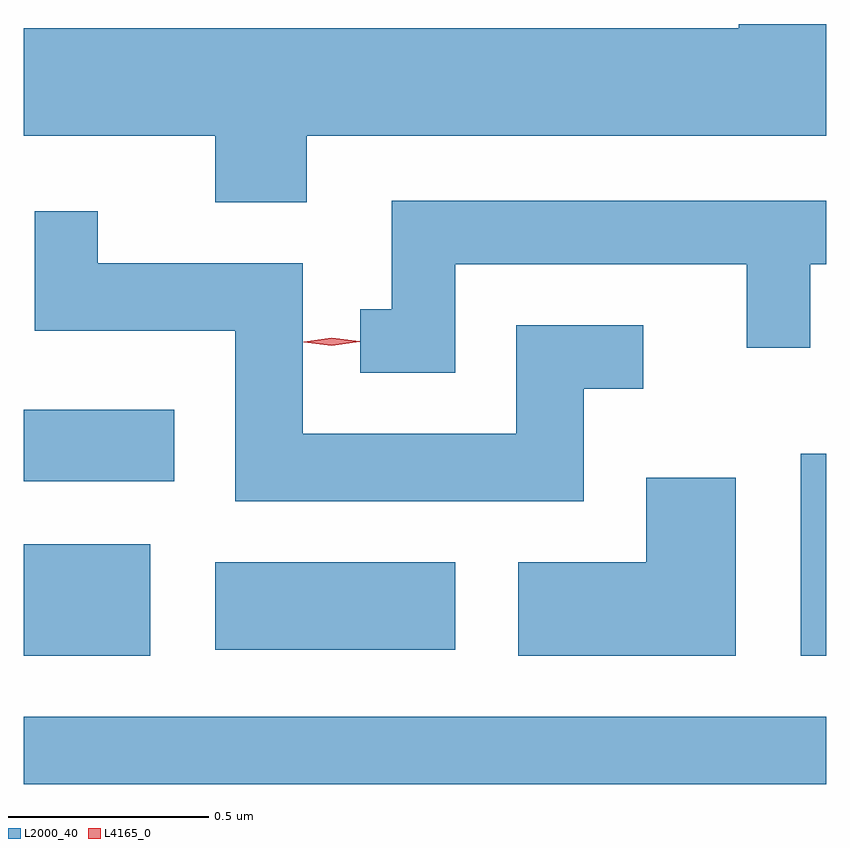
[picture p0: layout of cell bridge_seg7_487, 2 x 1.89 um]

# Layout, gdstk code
import gdstk
lib = gdstk.Library(unit=1e-6, precision=1e-09)
def R(c, l, rs):  # rectangles x0, y0, x1, y1
    for r in rs: c.add(gdstk.rectangle(r[:2], r[2:], *l))
def P(c, l, *ps):  # polygons
    for p in ps: c.add(gdstk.Polygon(p, *l))
L2000_40 = (2000, 40)
L4165_0 = (4165, 0)

bridge_seg7_487 = lib.new_cell('bridge_seg7_487')
R(bridge_seg7_487, L2000_40, [(1112.394,1726.021,1114.394,1726.189), (1112.394,1726.341,1112.709,1726.619), (1114.331,1726.341,1114.394,1726.844), (1112.871,1726.356,1113.469,1726.574), (1112.394,1726.776,1112.769,1726.954)])
P(bridge_seg7_487, L2000_40, [(1113.099,1727.636),(1114.394,1727.636),(1114.394,1727.915),(1114.176,1727.915),(1114.176,1727.904),(1112.394,1727.904),(1112.394,1727.636),(1112.871,1727.636),(1112.871,1727.471),(1113.099,1727.471)],
  [(1113.469,1727.316),(1114.196,1727.316),(1114.196,1727.108),(1114.354,1727.108),(1114.354,1727.316),(1114.394,1727.316),(1114.394,1727.474),(1113.311,1727.474),(1113.311,1727.204),(1113.233,1727.204),(1113.233,1727.046),(1113.469,1727.046)],
  [(1113.789,1727.006),(1113.938,1727.006),(1113.938,1727.164),(1113.621,1727.164),(1113.621,1726.894),(1113.089,1726.894),(1113.089,1727.319),(1112.579,1727.319),(1112.579,1727.448),(1112.421,1727.448),(1112.421,1727.151),(1112.921,1727.151),(1112.921,1726.726),(1113.789,1726.726)],
  [(1114.169,1726.784),(1113.946,1726.784),(1113.946,1726.574),(1113.626,1726.574),(1113.626,1726.341),(1114.169,1726.341)])
P(bridge_seg7_487, L4165_0, [(1113.161,1727.113),(1113.092,1727.122),(1113.092,1727.123),(1113.092,1727.123),(1113.161,1727.133),(1113.231,1727.124),(1113.231,1727.124),(1113.231,1727.123)])

lib.write_gds('bridge_seg7_487.gds')
